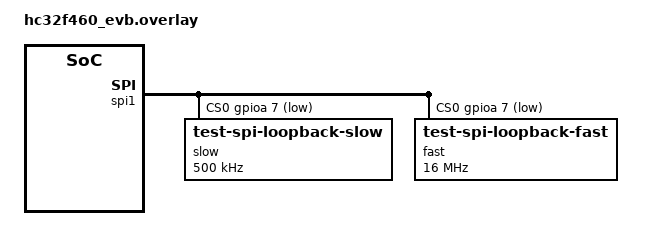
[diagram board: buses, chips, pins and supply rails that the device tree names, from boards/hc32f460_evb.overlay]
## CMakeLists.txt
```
# SPDX-License-Identifier: Apache-2.0

cmake_minimum_required(VERSION 3.20.0)

find_package(Zephyr REQUIRED HINTS $ENV{ZEPHYR_BASE})
project(spi_loopback)

target_sources(app PRIVATE src/spi.c)
```

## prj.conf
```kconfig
CONFIG_TEST=y
CONFIG_BOOT_BANNER=y

CONFIG_SPI=y
CONFIG_SPI_LOG_LEVEL_INF=y
CONFIG_ZTEST=y
CONFIG_ZTEST_NEW_API=y

CONFIG_SPI_ASYNC=y
CONFIG_SPI_HC32_INTERRUPT=y
CONFIG_SPI_LOOPBACK_MODE_LOOP=n

CONFIG_SPI_HC32_DMA=n
```

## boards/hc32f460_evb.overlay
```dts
/*
 * SPDX-License-Identifier: Apache-2.0
 *
 * Copyright (c) 2022 TOKITA Hiroshi <tokita.hiroshi@gmail.com>
 */

 &pinctrl {
	spi1_default: spi1_default {
		group1 {
			pinmux = <HC32_PINMUX('A', 8, FUNC, 43, 0)>, /*  SCK */
				 <HC32_PINMUX('B', 0, FUNC, 40, 0)>, /* MOSI */
				 <HC32_PINMUX('C', 5, FUNC, 41, 0)>; /* MISO */
				 drive-strength = "high";
		};
	};	
};

&spi1 {
	status = "okay";
	pinctrl-0 = <&spi1_default>;
	pinctrl-names = "default";
	cs-gpios = <&gpioa 7 GPIO_ACTIVE_LOW>;

	dmas =  <&dma1 2 EVT_SRC_SPI1_SPTI (HC32_DMA_MEMORY_TO_PERIPH | HC32_DMA_SOURCE_ADDR_INC | HC32_DMA_DEST_ADDR_FIX)>,
	   <&dma1 3 EVT_SRC_SPI1_SPRI (HC32_DMA_PERIPH_TO_MEMORY | HC32_DMA_SOURCE_ADDR_FIX | HC32_DMA_DEST_ADDR_INC)>;
	dma-names = "tx", "rx";

	slow@0 {
		compatible = "test-spi-loopback-slow";
		reg = <0>;
		spi-max-frequency = <500000>;
	};
	fast@0 {
		compatible = "test-spi-loopback-fast";
		reg = <0>;
		spi-max-frequency = <16000000>;
	};
};

&dma1 {
	status = "okay";
};
```

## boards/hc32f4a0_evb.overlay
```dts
/*
 * SPDX-License-Identifier: Apache-2.0
 *
 * Copyright (c) 2022 TOKITA Hiroshi <tokita.hiroshi@gmail.com>
 */

&spi6 {
	dmas =  <&dma1 2 EVT_SRC_SPI6_SPTI (HC32_DMA_MEMORY_TO_PERIPH | HC32_DMA_SOURCE_ADDR_INC | HC32_DMA_DEST_ADDR_FIX)>,
	   <&dma1 3 EVT_SRC_SPI6_SPRI (HC32_DMA_PERIPH_TO_MEMORY | HC32_DMA_SOURCE_ADDR_FIX | HC32_DMA_DEST_ADDR_INC)>;
	dma-names = "tx", "rx";

	slow@0 {
		compatible = "test-spi-loopback-slow";
		reg = <0>;
		spi-max-frequency = <500000>;
	};
	fast@0 {
		compatible = "test-spi-loopback-fast";
		reg = <0>;
		spi-max-frequency = <16000000>;
	};
};

&dma1 {
	status = "okay";
};
```

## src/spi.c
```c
/*
 * Copyright (c) 2017 Intel Corporation.
 *
 * SPDX-License-Identifier: Apache-2.0
 */

#define LOG_LEVEL CONFIG_LOG_DEFAULT_LEVEL
#include <zephyr/logging/log.h>
LOG_MODULE_REGISTER(spi_loopback);

#include <zephyr/kernel.h>
#include <zephyr/sys/printk.h>
#include <string.h>
#include <stdio.h>
#include <assert.h>
#include <zephyr/ztest.h>

#include <zephyr/drivers/spi.h>

#define SPI_FAST_DEV	DT_COMPAT_GET_ANY_STATUS_OKAY(test_spi_loopback_fast)
#define SPI_SLOW_DEV	DT_COMPAT_GET_ANY_STATUS_OKAY(test_spi_loopback_slow)

#if CONFIG_SPI_LOOPBACK_MODE_LOOP
#define MODE_LOOP SPI_MODE_LOOP
#else
#define MODE_LOOP 0
#endif

#ifdef CONFIG_DMA
#define DMA_ENABLED_STR ", DMA enabled"
#else /* CONFIG_DMA */
#define DMA_ENABLED_STR
#endif

#define FRAME_SIZE (16)
#define FRAME_SIZE_STR ", frame size = 16"

#define SPI_OP(frame_size) SPI_OP_MODE_MASTER | SPI_MODE_CPOL | MODE_LOOP | \
	       SPI_MODE_CPHA | SPI_WORD_SET(frame_size) | SPI_LINES_SINGLE

static struct spi_dt_spec spi_fast = SPI_DT_SPEC_GET(SPI_FAST_DEV, SPI_OP(FRAME_SIZE), 0);
static struct spi_dt_spec spi_slow = SPI_DT_SPEC_GET(SPI_SLOW_DEV, SPI_OP(FRAME_SIZE), 0);

/* to run this test, connect MOSI pin to the MISO of the SPI */

#define STACK_SIZE 1024
#define BUF_SIZE 20
#define BUF2_SIZE 36

#if CONFIG_NOCACHE_MEMORY
#define __NOCACHE	__attribute__((__section__(".nocache")))
#elif defined(CONFIG_DT_DEFINED_NOCACHE)
#define __NOCACHE	__attribute__((__section__(CONFIG_DT_DEFINED_NOCACHE_NAME)))
#else /* CONFIG_NOCACHE_MEMORY */
#define __NOCACHE
#endif /* CONFIG_NOCACHE_MEMORY */

static const char tx_data[BUF_SIZE] = "0123456789abcdef-hh\0";
static __aligned(32) char buffer_tx[BUF_SIZE] __used __NOCACHE;
static __aligned(32) char buffer_rx[BUF_SIZE] __used __NOCACHE;
static const char tx2_data[BUF2_SIZE] = "Thequickbrownfoxjumpsoverthelazydog\0";
static __aligned(32) char buffer2_tx[BUF2_SIZE] __used __NOCACHE;
static __aligned(32) char buffer2_rx[BUF2_SIZE] __used __NOCACHE;

/*
 * We need 5x(buffer size) + 1 to print a comma-separated list of each
 * byte in hex, plus a null.
 */
static uint8_t buffer_print_tx[BUF_SIZE * 5 + 1];
static uint8_t buffer_print_rx[BUF_SIZE * 5 + 1];

static uint8_t buffer_print_tx2[BUF2_SIZE * 5 + 1];
static uint8_t buffer_print_rx2[BUF2_SIZE * 5 + 1];

static void to_display_format(const uint8_t *src, size_t size, char *dst)
{
	size_t i;

	for (i = 0; i < size; i++) {
		sprintf(dst + 5 * i, "0x%02x,", src[i]);
	}
}

/* test transferring different buffers on the same dma channels */
static int spi_complete_multiple(struct spi_dt_spec *spec)
{
	struct spi_buf tx_bufs[2];
	const struct spi_buf_set tx = {
		.buffers = tx_bufs,
		.count = ARRAY_SIZE(tx_bufs)
	};

	tx_bufs[0].buf = buffer_tx;
	tx_bufs[0].len = BUF_SIZE;

	tx_bufs[1].buf = buffer2_tx;
	tx_bufs[1].len = BUF2_SIZE;


	struct spi_buf rx_bufs[2];
	const struct spi_buf_set rx = {
		.buffers = rx_bufs,
		.count = ARRAY_SIZE(rx_bufs)
	};

	rx_bufs[0].buf = buffer_rx;
	rx_bufs[0].len = BUF_SIZE;

	rx_bufs[1].buf = buffer2_rx;
	rx_bufs[1].len = BUF2_SIZE;

	int ret;

	LOG_INF("Start complete multiple");

	ret = spi_transceive_dt(spec, &tx, &rx);
	if (ret) {
		LOG_ERR("Code %d", ret);
		zassert_false(ret, "SPI transceive failed");
		return ret;
	}

	if (memcmp(buffer_tx, buffer_rx, BUF_SIZE)) {
		to_display_format(buffer_tx, BUF_SIZE, buffer_print_tx);
		to_display_format(buffer_rx, BUF_SIZE, buffer_print_rx);
		LOG_ERR("Buffer contents are different: %s", buffer_print_tx);
		LOG_ERR("                           vs: %s", buffer_print_rx);
		zassert_false(1, "Buffer contents are different");
		return -1;
	}

	if (memcmp(buffer2_tx, buffer2_rx, BUF2_SIZE)) {
		to_display_format(buffer2_tx, BUF2_SIZE, buffer_print_tx2);
		to_display_format(buffer2_rx, BUF2_SIZE, buffer_print_rx2);
		LOG_ERR("Buffer 2 contents are different: %s", buffer_print_tx2);
		LOG_ERR("                             vs: %s", buffer_print_rx2);
		zassert_false(1, "Buffer 2 contents are different");
		return -1;
	}

	LOG_INF("Passed");

	return 0;
}

static int spi_complete_loop(struct spi_dt_spec *spec)
{
	const struct spi_buf tx_bufs[] = {
		{
			.buf = buffer_tx,
			.len = BUF_SIZE,
		},
	};
	const struct spi_buf rx_bufs[] = {
		{
			.buf = buffer_rx,
			.len = BUF_SIZE,
		},
	};
	const struct spi_buf_set tx = {
		.buffers = tx_bufs,
		.count = ARRAY_SIZE(tx_bufs)
	};
	const struct spi_buf_set rx = {
		.buffers = rx_bufs,
		.count = ARRAY_SIZE(rx_bufs)
	};

	int ret;

	LOG_INF("Start complete loop");

	ret = spi_transceive_dt(spec, &tx, &rx);
	if (ret) {
		LOG_ERR("Code %d", ret);
		zassert_false(ret, "SPI transceive failed");
		return ret;
	}

	if (memcmp(buffer_tx, buffer_rx, BUF_SIZE)) {
		to_display_format(buffer_tx, BUF_SIZE, buffer_print_tx);
		to_display_format(buffer_rx, BUF_SIZE, buffer_print_rx);
		LOG_ERR("Buffer contents are different: %s", buffer_print_tx);
		LOG_ERR("                           vs: %s", buffer_print_rx);
		zassert_false(1, "Buffer contents are different");
		return -1;
	}

	LOG_INF("Passed");

	return 0;
}

static int spi_null_tx_buf(struct spi_dt_spec *spec)
{
	static const uint8_t EXPECTED_NOP_RETURN_BUF[BUF_SIZE] = { 0 };

	(void)memset(buffer_rx, 0x77, BUF_SIZE);

	const struct spi_buf tx_bufs[] = {
		/* According to documentation, when sending NULL tx buf -
		 *  NOP frames should be sent on MOSI line
		 */
		{
			.buf = NULL,
			.len = BUF_SIZE,
		},
	};
	const struct spi_buf rx_bufs[] = {
		{
			.buf = buffer_rx,
			.len = BUF_SIZE,
		},
	};
	const struct spi_buf_set tx = {
		.buffers = tx_bufs,
		.count = ARRAY_SIZE(tx_bufs)
	};
	const struct spi_buf_set rx = {
		.buffers = rx_bufs,
		.count = ARRAY_SIZE(rx_bufs)
	};

	int ret;

	LOG_INF("Start null tx");

	ret = spi_transceive_dt(spec, &tx, &rx);
	if (ret) {
		LOG_ERR("Code %d", ret);
		zassert_false(ret, "SPI transceive failed");
		return ret;
	}


	if (memcmp(buffer_rx, EXPECTED_NOP_RETURN_BUF, BUF_SIZE)) {
		to_display_format(buffer_rx, BUF_SIZE, buffer_print_rx);
		LOG_ERR("Rx Buffer should contain NOP frames but got: %s",
			buffer_print_rx);
		zassert_false(1, "Buffer not as expected");
		return -1;
	}

	LOG_INF("Passed");

	return 0;
}

static int spi_rx_half_start(struct spi_dt_spec *spec)
{
	const struct spi_buf tx_bufs[] = {
		{
			.buf = buffer_tx,
			.len = BUF_SIZE,
		},
	};
	const struct spi_buf rx_bufs[] = {
		{
			.buf = buffer_rx,
			.len = 8,
		},
	};
	const struct spi_buf_set tx = {
		.buffers = tx_bufs,
		.count = ARRAY_SIZE(tx_bufs)
	};
	const struct spi_buf_set rx = {
		.buffers = rx_bufs,
		.count = ARRAY_SIZE(rx_bufs)
	};
	int ret;

	LOG_INF("Start half start");

	(void)memset(buffer_rx, 0, BUF_SIZE);

	ret = spi_transceive_dt(spec, &tx, &rx);
	if (ret) {
		LOG_ERR("Code %d", ret);
		zassert_false(ret, "SPI transceive failed");
		return -1;
	}

	if (memcmp(buffer_tx, buffer_rx, 8)) {
		to_display_format(buffer_tx, 8, buffer_print_tx);
		to_display_format(buffer_rx, 8, buffer_print_rx);
		LOG_ERR("Buffer contents are different: %s", buffer_print_tx);
		LOG_ERR("                           vs: %s", buffer_print_rx);
		zassert_false(1, "Buffer contents are different");
		return -1;
	}

	LOG_INF("Passed");

	return 0;
}

static int spi_rx_half_end(struct spi_dt_spec *spec)
{
	const struct spi_buf tx_bufs[] = {
		{
			.buf = buffer_tx,
			.len = BUF_SIZE,
		},
	};
	const struct spi_buf rx_bufs[] = {
		{
			.buf = NULL,
			.len = 8,
		},
		{
			.buf = buffer_rx,
			.len = 8,
		},
	};
	const struct spi_buf_set tx = {
		.buffers = tx_bufs,
		.count = ARRAY_SIZE(tx_bufs)
	};
	const struct spi_buf_set rx = {
		.buffers = rx_bufs,
		.count = ARRAY_SIZE(rx_bufs)
	};
	int ret;

	if (IS_ENABLED(CONFIG_SPI_STM32_DMA)) {
		LOG_INF("Skip half end");
		return 0;
	}

	LOG_INF("Start half end");

	(void)memset(buffer_rx, 0, BUF_SIZE);

	ret = spi_transceive_dt(spec, &tx, &rx);
	if (ret) {
		LOG_ERR("Code %d", ret);
		zassert_false(ret, "SPI transceive failed");
		return -1;
	}

	if (memcmp(buffer_tx + 8, buffer_rx, 8)) {
		to_display_format(buffer_tx + 8, 8, buffer_print_tx);
		to_display_format(buffer_rx, 8, buffer_print_rx);
		LOG_ERR("Buffer contents are different: %s", buffer_print_tx);
		LOG_ERR("                           vs: %s", buffer_print_rx);
		zassert_false(1, "Buffer contents are different");
		return -1;
	}

	LOG_INF("Passed");

	return 0;
}

static int spi_rx_every_4(struct spi_dt_spec *spec)
{
	const struct spi_buf tx_bufs[] = {
		{
			.buf = buffer_tx,
			.len = BUF_SIZE,
		},
	};
	const struct spi_buf rx_bufs[] = {
		{
			.buf = NULL,
			.len = 4,
		},
		{
			.buf = buffer_rx,
			.len = 4,
		},
		{
			.buf = NULL,
			.len = 4,
		},
		{
			.buf = buffer_rx + 4,
			.len = 4,
		},
	};
	const struct spi_buf_set tx = {
		.buffers = tx_bufs,
		.count = ARRAY_SIZE(tx_bufs)
	};
	const struct spi_buf_set rx = {
		.buffers = rx_bufs,
		.count = ARRAY_SIZE(rx_bufs)
	};
	int ret;

	if (IS_ENABLED(CONFIG_SPI_STM32_DMA)) {
		LOG_INF("Skip every 4");
		return 0;
	}

	if (IS_ENABLED(CONFIG_DSPI_MCUX_EDMA)) {
		LOG_INF("Skip every 4");
		return 0;
	}

	LOG_INF("Start every 4");

	(void)memset(buffer_rx, 0, BUF_SIZE);

	ret = spi_transceive_dt(spec, &tx, &rx);
	if (ret) {
		LOG_ERR("Code %d", ret);
		zassert_false(ret, "SPI transceive failed");
		return -1;
	}

	if (memcmp(buffer_tx + 4, buffer_rx, 4)) {
		to_display_format(buffer_tx + 4, 4, buffer_print_tx);
		to_display_format(buffer_rx, 4, buffer_print_rx);
		LOG_ERR("Buffer contents are different: %s", buffer_print_tx);
		LOG_ERR("                           vs: %s", buffer_print_rx);
		zassert_false(1, "Buffer contents are different");
		return -1;
	} else if (memcmp(buffer_tx + 12, buffer_rx + 4, 4)) {
		to_display_format(buffer_tx + 12, 4, buffer_print_tx);
		to_display_format(buffer_rx + 4, 4, buffer_print_rx);
		LOG_ERR("Buffer contents are different: %s", buffer_print_tx);
		LOG_ERR("                           vs: %s", buffer_print_rx);
		zassert_false(1, "Buffer contents are different");
		return -1;
	}

	LOG_INF("Passed");

	return 0;
}

static int spi_rx_bigger_than_tx(struct spi_dt_spec *spec)
{
	const uint32_t tx_buf_size = 8;

	const struct spi_buf tx_bufs[] = {
		{
			.buf = buffer_tx,
			.len = tx_buf_size,
		},
	};
	const struct spi_buf rx_bufs[] = {
		{
			.buf = buffer_rx,
			.len = BUF_SIZE,
		}
	};
	const struct spi_buf_set tx = {
		.buffers = tx_bufs,
		.count = ARRAY_SIZE(tx_bufs)
	};
	const struct spi_buf_set rx = {
		.buffers = rx_bufs,
		.count = ARRAY_SIZE(rx_bufs)
	};
	int ret;

	if (IS_ENABLED(CONFIG_SPI_STM32_DMA)) {
		LOG_INF("Skip rx bigger than tx");
		return 0;
	}

	LOG_INF("Start rx bigger than tx");

	(void)memset(buffer_rx, 0xff, BUF_SIZE);

	ret = spi_transceive_dt(spec, &tx, &rx);
	if (ret) {
		LOG_ERR("Code %d", ret);
		zassert_false(ret, "SPI transceive failed");
		return -1;
	}

	if (memcmp(buffer_tx, buffer_rx, tx_buf_size)) {
		to_display_format(buffer_tx, tx_buf_size, buffer_print_tx);
		to_display_format(buffer_rx, tx_buf_size, buffer_print_rx);
		LOG_ERR("Buffer contents are different: %s", buffer_print_tx);
		LOG_ERR("                           vs: %s", buffer_print_rx);
		zassert_false(1, "Buffer contents are different");
		return -1;
	}

	const uint8_t all_zeroes_buf[BUF_SIZE] = {0};

	if (memcmp(all_zeroes_buf, buffer_rx + tx_buf_size, BUF_SIZE - tx_buf_size)) {
		to_display_format(
			buffer_rx + tx_buf_size,  BUF_SIZE - tx_buf_size, buffer_print_tx);

		to_display_format(
			all_zeroes_buf, BUF_SIZE - tx_buf_size, buffer_print_rx);

		LOG_ERR("Buffer contents are different: %s", buffer_print_tx);
		LOG_ERR("                           vs: %s", buffer_print_rx);
		zassert_false(1, "Buffer contents are different");
		return -1;
	}

	LOG_INF("Passed");

	return 0;
}

#if (CONFIG_SPI_ASYNC)
static struct k_poll_signal async_sig = K_POLL_SIGNAL_INITIALIZER(async_sig);
static struct k_poll_event async_evt =
	K_POLL_EVENT_INITIALIZER(K_POLL_TYPE_SIGNAL,
				 K_POLL_MODE_NOTIFY_ONLY,
				 &async_sig);
static K_SEM_DEFINE(caller, 0, 1);
K_THREAD_STACK_DEFINE(spi_async_stack, STACK_SIZE);
static int result = 1;

static void spi_async_call_cb(struct k_poll_event *evt,
			      struct k_sem *caller_sem,
			      void *unused)
{
	int ret;

	LOG_DBG("Polling...");

	while (1) {
		ret = k_poll(evt, 1, K_MSEC(200));
		zassert_false(ret, "one or more events are not ready");

		result = evt->signal->result;
		k_sem_give(caller_sem);

		/* Reinitializing for next call */
		evt->signal->signaled = 0U;
		evt->state = K_POLL_STATE_NOT_READY;
	}
}

static int spi_async_call(struct spi_dt_spec *spec)
{
	const struct spi_buf tx_bufs[] = {
		{
			.buf = buffer_tx,
			.len = BUF_SIZE,
		},
	};
	const struct spi_buf rx_bufs[] = {
		{
			.buf = buffer_rx,
			.len = BUF_SIZE,
		},
	};
	const struct spi_buf_set tx = {
		.buffers = tx_bufs,
		.count = ARRAY_SIZE(tx_bufs)
	};
	const struct spi_buf_set rx = {
		.buffers = rx_bufs,
		.count = ARRAY_SIZE(rx_bufs)
	};
	int ret;

	LOG_INF("Start async call");

	ret = spi_transceive_signal(spec->bus, &spec->config, &tx, &rx, &async_sig);
	if (ret == -ENOTSUP) {
		LOG_DBG("Not supported");
		return 0;
	}

	if (ret) {
		LOG_ERR("Code %d", ret);
		zassert_false(ret, "SPI transceive failed");
		return -1;
	}

	k_sem_take(&caller, K_FOREVER);

	if (result) {
		LOG_ERR("Call code %d", ret);
		zassert_false(result, "SPI transceive failed");
		return -1;
	}

	LOG_INF("Passed");

	return 0;
}
#endif

static int spi_resource_lock_test(struct spi_dt_spec *lock_spec,
				  struct spi_dt_spec *try_spec)
{
	lock_spec->config.operation |= SPI_LOCK_ON;

	if (spi_complete_loop(lock_spec)) {
		return -1;
	}

	if (spi_release_dt(lock_spec)) {
		LOG_ERR("Deadlock now?");
		zassert_false(1, "SPI release failed");
		return -1;
	}

	if (spi_complete_loop(try_spec)) {
		return -1;
	}

	return 0;
}

ZTEST(spi_loopback, test_spi_loopback)
{
#if (CONFIG_SPI_ASYNC)
	struct k_thread async_thread;
	k_tid_t async_thread_id;
#endif

	LOG_INF("SPI test on buffers TX/RX %p/%p" FRAME_SIZE_STR DMA_ENABLED_STR,
			buffer_tx,
			buffer_rx);

#if (CONFIG_SPI_ASYNC)
	async_thread_id = k_thread_create(&async_thread,
					  spi_async_stack, STACK_SIZE,
					  (k_thread_entry_t)spi_async_call_cb,
					  &async_evt, &caller, NULL,
					  K_PRIO_COOP(7), 0, K_NO_WAIT);
#endif
	zassert_true(spi_is_ready_dt(&spi_slow), "Slow spi lookback device is not ready");

	LOG_INF("SPI test slow config");

	if (spi_complete_multiple(&spi_slow) ||
	    spi_complete_loop(&spi_slow) ||
	    spi_null_tx_buf(&spi_slow) ||
	    spi_rx_half_start(&spi_slow) ||
	    spi_rx_half_end(&spi_slow) ||
	    spi_rx_every_4(&spi_slow) ||
	    spi_rx_bigger_than_tx(&spi_slow)
#if (CONFIG_SPI_ASYNC)
	    || spi_async_call(&spi_slow)
#endif
	    ) {
		goto end;
	}

	zassert_true(spi_is_ready_dt(&spi_fast), "Fast spi lookback device is not ready");

	LOG_INF("SPI test fast config");

	if (spi_complete_multiple(&spi_fast) ||
	    spi_complete_loop(&spi_fast) ||
	    spi_null_tx_buf(&spi_fast) ||
	    spi_rx_half_start(&spi_fast) ||
	    spi_rx_half_end(&spi_fast) ||
	    spi_rx_every_4(&spi_fast) ||
	    spi_rx_bigger_than_tx(&spi_fast)
#if (CONFIG_SPI_ASYNC)
	    || spi_async_call(&spi_fast)
#endif
	    ) {
		goto end;
	}

	if (spi_resource_lock_test(&spi_slow, &spi_fast)) {
		goto end;
	}

	LOG_INF("All tx/rx passed");
end:
#if (CONFIG_SPI_ASYNC)
	k_thread_abort(async_thread_id);
#else
	;
#endif
}

static void *spi_loopback_setup(void)
{
	memset(buffer_tx, 0, sizeof(buffer_tx));
	memcpy(buffer_tx, tx_data, sizeof(tx_data));
	memset(buffer2_tx, 0, sizeof(buffer2_tx));
	memcpy(buffer2_tx, tx2_data, sizeof(tx2_data));
	return NULL;
}

ZTEST_SUITE(spi_loopback, NULL, spi_loopback_setup, NULL, NULL, NULL);
```
